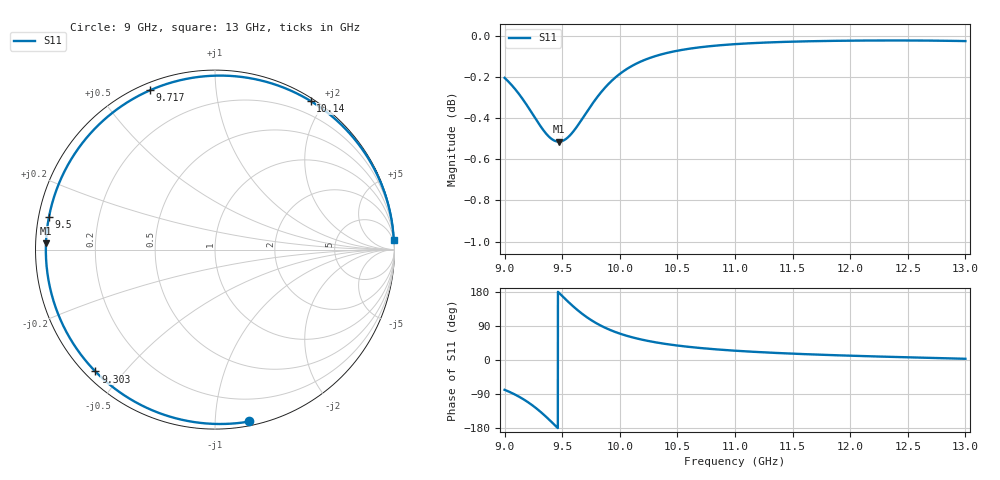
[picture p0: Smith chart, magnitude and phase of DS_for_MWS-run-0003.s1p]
! TOUCHSTONE file generated by CST DESIGN STUDIO
! Date and time: Wed Feb  5 13:20:39 2025
! Project name: C:\Work\MatlabApps\UnitCellOptimizationMatlab\CST\unitcell.cst
! Tree item: Tasks\Sweep1\SPara1\S-Parameters
! Header version: 2024
! Port assignment regex: !\s*Touchstone port\s*([0-9]+)\s*=\s*(CST MWS port|CST DES external port|CST DES block port)\s*(.+)\s* \(\"(.*)\"\)(\s*mode\s*([0-9]+))?.*
! Touchstone port assignment:
! Touchstone port 1 = CST DES external port 1 ("")
# GHz S MA R 50
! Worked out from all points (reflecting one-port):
!   4001 points, 9 GHz to 13 GHz, reference 50 ohm
!   lowest |S11| = -0.5 dB at 9.47 GHz (marker M1), VSWR 33.78, Z = 1.48 + j0.946 ohm
!   phase of S11 starts at -79 deg and turns -278 deg over the sweep
!   S11 on the Smith chart (normalised r, x): 9 GHz: 0.03, -1.22; 9.303 GHz: 0.03, -0.42; 9.5 GHz: 0.03, +0.10; 9.717 GHz: 0.03, +0.67; 10.14 GHz: 0.03, +1.83; 13 GHz: 2, +35
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9  0.9768 -78.7
9.075  0.9718 -88.8
9.126  0.9679 -96.9
9.172  0.9639 -105.2
9.24  0.9575 -119.3
9.303  0.9515 -134.5
9.347  0.9477 -146.2
9.393  0.9447 -159.2
9.432  0.943 -170.8
9.47  0.9425 177.8
9.5  0.9428 168.8
9.552  0.9449 153.6
9.612  0.9491 137.1
9.664  0.9537 124.1
9.717  0.9586 112.2
9.773  0.9637 101.2
9.835  0.9687 90.7
9.916  0.9743 79.3
10  0.9789 69.7
10.142  0.9845 57.2
10.304  0.9886 47.0
10.5  0.9917 38.2
10.722  0.9938 31.0
11  0.9954 24.5
11.5  0.9967 16.7
12  0.9973 11.3
12.5  0.9974 7.1
13  0.9971 3.2
